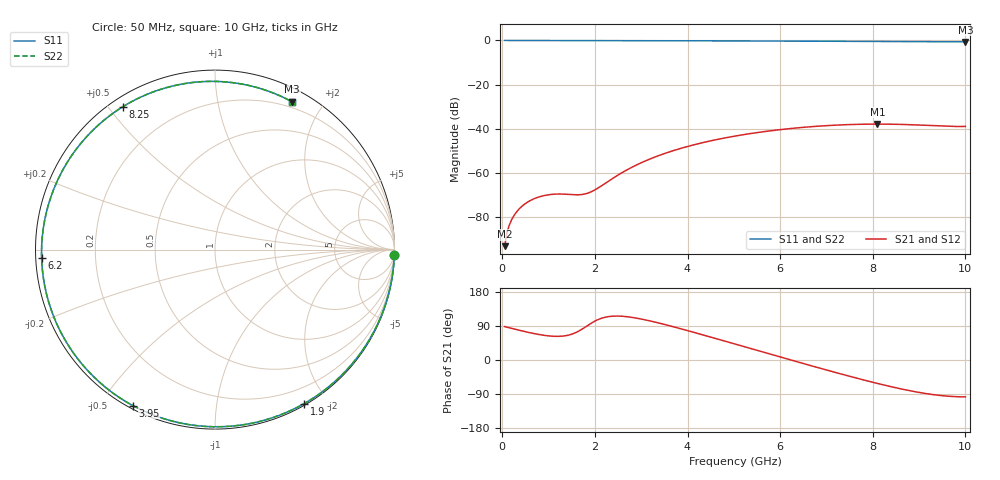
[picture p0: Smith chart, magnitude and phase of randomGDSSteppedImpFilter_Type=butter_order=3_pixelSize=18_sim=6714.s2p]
! freq	dB(S11)	phase(S11)	dB(S12)	phase(S12)
!  dB(S21)	phase(S21)	dB(S22)	phase(S22)
!S-par simulation data
#  GHz  S  DB  R 50
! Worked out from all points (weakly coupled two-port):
!   200 points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, 50 MHz to 10 GHz, reference 50 ohm
!   highest |S21| = -37.88 dB at 8.1 GHz (marker M1); lowest = -93.2 dB at 50 MHz (marker M2)
!   lowest |S11| = -0.6 dB at 10 GHz (marker M3), VSWR 27.05, Z = 6.86 + j82.1 ohm
!   |S11| at or under -10 dB: nowhere
!   |S22| runs from -0.6 to 0.0 dB; largest |S21 - S12| = 0
!   S11 on the Smith chart (normalised r, x): 50 MHz: 2, -70; 1.9 GHz: 0.02, -1.74; 3.95 GHz: 0.01, -0.60; 6.2 GHz: 0.02, -0.02; 8.25 GHz: 0.04, +0.54; 10 GHz: 0.14, +1.64
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0.05  -0.01 -1.6  -93.17 88.1  -93.17 88.1  -0.01 -1.6
0.25  -0.01 -8.1  -79.39 82.0  -79.39 82.0  -0.01 -8.1
0.35  -0.01 -11.4  -76.63 79.0  -76.63 79.0  -0.01 -11.4
0.5  -0.02 -16.2  -73.86 74.6  -73.86 74.6  -0.02 -16.2
0.8  -0.03 -25.8  -70.81 67.1  -70.81 67.1  -0.03 -25.8
1.15  -0.05 -36.8  -69.59 62.4  -69.59 62.4  -0.05 -36.8
1.75  -0.07 -55.4  -69.67 83.6  -69.67 83.6  -0.07 -55.4
1.9  -0.07 -59.9  -68.72 95.5  -68.72 95.5  -0.07 -59.9
2.65  -0.10 -81.9  -59.10 114.8  -59.10 114.8  -0.10 -81.9
3.4  -0.13 -102.9  -51.98 97.0  -51.98 97.0  -0.13 -103.0
3.95  -0.15 -117.8  -48.31 79.3  -48.31 79.3  -0.15 -117.9
5.05  -0.21 -146.9  -43.22 41.2  -43.22 41.2  -0.21 -146.9
5.65  -0.25 -162.6  -41.30 20.2  -41.30 20.2  -0.25 -162.6
6.2  -0.29 -177.3  -39.94 1.0  -39.94 1.0  -0.29 -177.3
6.7  -0.33 169.0  -39.01 -16.2  -39.01 -16.2  -0.33 169.0
7.4  -0.39 149.0  -38.17 -39.7  -38.17 -39.7  -0.39 149.0
8.1  -0.46 127.7  -37.88 -61.8  -37.88 -61.8  -0.46 127.7
8.25  -0.47 122.9  -37.90 -66.3  -37.90 -66.3  -0.47 122.9
8.35  -0.48 119.7  -37.92 -69.1  -37.92 -69.1  -0.48 119.7
9.2  -0.56 91.1  -38.50 -89.5  -38.50 -89.5  -0.56 91.1
9.6  -0.60 76.9  -38.86 -95.2  -38.86 -95.2  -0.60 76.9
10  -0.64 62.4  -38.93 -97.4  -38.93 -97.4  -0.64 62.4
